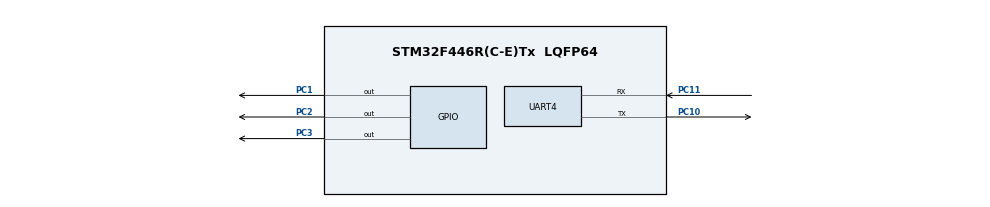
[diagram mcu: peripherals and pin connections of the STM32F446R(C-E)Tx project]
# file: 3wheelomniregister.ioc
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Mcu.Family=STM32F4
Mcu.Name=STM32F446R(C-E)Tx
Mcu.Package=LQFP64
NVIC.PriorityGroup=NVIC_PRIORITYGROUP_4
PC1.Signal=GPIO_Output
PC10.Mode=Asynchronous
PC10.Signal=UART4_TX
PC11.Mode=Asynchronous
PC11.Signal=UART4_RX
PC2.Signal=GPIO_Output
PC3.Signal=GPIO_Output
ProjectManager.HeapSize=0x200
ProjectManager.StackSize=0x400
ProjectManager.TargetToolchain=STM32CubeIDE
RCC.CortexFreq_Value=16000000
RCC.USBFreq_Value=96000000
RCC.VCOOutputFreq_Value=192000000
UART4.VirtualMode=Asynchronous
board=custom

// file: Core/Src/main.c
/* USER CODE BEGIN Header */
/**
  ******************************************************************************
  * @file           : main.c
  * @brief          : Main program body
  ******************************************************************************
  * @attention
  *
  * Copyright (c) 2024 STMicroelectronics.
  * All rights reserved.
  *
  * This software is licensed under terms that can be found in the LICENSE file
  * in the root directory of this software component.
  * If no LICENSE file comes with this software, it is provided AS-IS.
  *
  ******************************************************************************
  */
/* USER CODE END Header */
#include "main.h"

/* USER CODE BEGIN Includes */
#include<stdio.h>
#include<inttypes.h>

#include <stdbool.h>
/* USER CODE END Includes */

/* USER CODE BEGIN PTD */
uint8_t rxbuff[16];

int slow=75;

int fast=400;

int Buff1=20;

int Buff2=-20;

int BuffP=50;

int BuffN=-50;

int32_t lx, ly, rx, ry, cro, squ, tri, cir, up, down, left, right, ll1, rr1, ll2, rr2;
/* USER CODE END PTD */

UART_HandleTypeDef huart4;

void SystemClock_Config(void);
static void MX_GPIO_Init(void);
static void MX_UART4_Init(void);

/* USER CODE BEGIN 0 */
void PWM (uint16_t CCR1LoadValue)
{
	uint32_t *pAHB1ClkCtrlReg =   (uint32_t*)0x40023830; // address of AHB1 clock control register
	uint32_t *pAFRLPortAReg   =   (uint32_t*)0x40020020; // address of alternate function register of port A
    uint32_t *pPortAModeReg   =   (uint32_t*)0x40020000; // address of port A mode register
    uint32_t *pAPB1ClkCtrlReg =   (uint32_t*)0x40023840; // address of APB1 clock control register
	uint32_t *pTimer2PsclrReg =   (uint32_t*)0x40000C28; // address of timer 5 pre-scalar register
	uint32_t *pTimer2ArrReg   =   (uint32_t*)0x40000C2C; // address of timer 5 auto reload register
    uint32_t *pTimer2CntReg   =   (uint32_t*)0x40000C24; // address of timer 5 counter register
    uint32_t *pTimer2CCMR1Reg =   (uint32_t*)0x40000C18; // address of timer 5 capture/compare register
	uint32_t *pTimer2CcerReg  =   (uint32_t*)0x40000C20; // address of timer 5 capture/compare enable register
	uint32_t *pTimer2CCR1Reg  =   (uint32_t*)0x40000C34; // address of timer 5 capture/compare register
	uint32_t *pTimer2CR1Reg   =   (uint32_t*)0x40000C00; // address of timer 5 control register 1

			*pAHB1ClkCtrlReg |= 0x1;        // port A clock enable
		    *pAFRLPortAReg   |= 0x00000002; // alternate function of Timer 5 enabled
		    *pPortAModeReg   &= 0xFFFFFFFC;
		    *pPortAModeReg   |= 0x00000002; // port A Pin 0 configured for 'Alternate function'

		    *pAPB1ClkCtrlReg |= 0x8;           // timer 5 clock enable
		    *pTimer2PsclrReg = 10 - 1;         // pre-scalar value
		    *pTimer2ArrReg   = 26667 - 1 ;     // calculated auto reload value (60Hz PWM frequency)
		    *pTimer2CntReg   = 0;              // counter initialized to 0
		    *pTimer2CCMR1Reg = 0x0060;         // output Compare mode 1 enabled in Timer 5 Channel 1
		    *pTimer2CcerReg  = 1;              // configured as active low in Output compare mode
		    *pTimer2CCR1Reg  = CCR1LoadValue;  // duty cycle of PWM signal
		    *pTimer2CR1Reg   = 1;              // counter enable

}
void PWM_PA1_TIM2(uint16_t CCR1LoadValue) {
    uint32_t *pAHB1ClkCtrlReg = (uint32_t*)0x40023830;  // RCC AHB1 Clock Enable Register
    uint32_t *pAPB1ClkCtrlReg = (uint32_t*)0x40023840;  // RCC APB1 Clock Enable Register
    uint32_t *pGPIOA_MODER    = (uint32_t*)0x40020000;  // GPIOA Mode Register
    uint32_t *pGPIOA_AFRL     = (uint32_t*)0x40020020;  // GPIOA AFRL (Alternate Function Low Register)
    uint32_t *pTIM2_PSC       = (uint32_t*)0x40000028;  // TIM2 Prescaler Register
    uint32_t *pTIM2_ARR       = (uint32_t*)0x4000002C;  // TIM2 Auto-Reload Register
    uint32_t *pTIM2_CCR2      = (uint32_t*)0x40000038;  // TIM2 Capture/Compare Register 2
    uint32_t *pTIM2_CCMR1     = (uint32_t*)0x40000018;  // TIM2 Capture/Compare Mode Register 1
    uint32_t *pTIM2_CCER      = (uint32_t*)0x40000020;  // TIM2 Capture/Compare Enable Register
    uint32_t *pTIM2_CR1       = (uint32_t*)0x40000000;  // TIM2 Control Register 1

    // 1. Enable GPIOA and TIM2 clocks
    *pAHB1ClkCtrlReg |= (1 << 0);  // GPIOA clock enable
    *pAPB1ClkCtrlReg |= (1 << 0);  // TIM2 clock enable

    // 2. Set PA1 to alternate function mode (MODERy[1:0] = 10)
    *pGPIOA_MODER &= ~(0x3 << (1 * 2));  // Clear mode bits for PA1
    *pGPIOA_MODER |=  (0x2 << (1 * 2));  // Set PA1 to alternate function mode

    // 3. Configure PA1 for AF1 (TIM2_CH2)
    *pGPIOA_AFRL &= ~(0xF << (1 * 4));   // Clear AFRL bits for PA1
    *pGPIOA_AFRL |=  (0x1 << (1 * 4));   // Set AF1 for PA1

    // 4. Configure TIM2
    *pTIM2_PSC = 10 - 1;                 // Set prescaler value
    *pTIM2_ARR = 26667 - 1;              // Set auto-reload value for 60Hz
    *pTIM2_CCR2 = CCR1LoadValue;         // Set duty cycle
    *pTIM2_CCMR1 |= (0x6 << 12);         // Set PWM mode 1 on channel 2
    *pTIM2_CCER |= (1 << 4);             // Enable capture/compare for channel 2
    *pTIM2_CR1 |= (1 << 0);              // Enable TIM2
}
void PWM_PA5_TIM8(uint16_t CCR1LoadValue) {
    uint32_t *pAHB1ClkCtrlReg = (uint32_t*)0x40023830;  // RCC AHB1 Clock Enable Register
    uint32_t *pAPB2ClkCtrlReg = (uint32_t*)0x40023844;  // RCC APB2 Clock Enable Register
    uint32_t *pGPIOA_MODER    = (uint32_t*)0x40020000;  // GPIOA Mode Register
    uint32_t *pGPIOA_AFRL     = (uint32_t*)0x40020020;  // GPIOA AFRL (Alternate Function Low Register)
    uint32_t *pTIM8_PSC       = (uint32_t*)0x40010428;  // TIM8 Prescaler Register
    uint32_t *pTIM8_ARR       = (uint32_t*)0x4001042C;  // TIM8 Auto-Reload Register
    uint32_t *pTIM8_CCR1      = (uint32_t*)0x40010434;  // TIM8 Capture/Compare Register 1
    uint32_t *pTIM8_CCMR1     = (uint32_t*)0x40010418;  // TIM8 Capture/Compare Mode Register 1
    uint32_t *pTIM8_CCER      = (uint32_t*)0x40010420;  // TIM8 Capture/Compare Enable Register
    uint32_t *pTIM8_CR1       = (uint32_t*)0x40010400;  // TIM8 Control Register 1

    // 1. Enable GPIOA and TIM8 clocks
    *pAHB1ClkCtrlReg |= (1 << 0);  // GPIOA clock enable
    *pAPB2ClkCtrlReg |= (1 << 1);  // TIM8 clock enable

    // 2. Set PA5 to alternate function mode (MODERy[1:0] = 10)
    *pGPIOA_MODER &= ~(0x3 << (5 * 2));  // Clear mode bits for PA5
    *pGPIOA_MODER |=  (0x2 << (5 * 2));  // Set PA5 to alternate function mode

    // 3. Configure PA5 for AF3 (TIM8_CH1)
    *pGPIOA_AFRL &= ~(0xF << (5 * 4));   // Clear AFRL bits for PA5
    *pGPIOA_AFRL |=  (0x3 << (5 * 4));   // Set AF3 for PA5

    // 4. Configure TIM8
    *pTIM8_PSC = 10 - 1;                 // Set prescaler value
    *pTIM8_ARR = 26667 - 1;              // Set auto-reload value for 60Hz
    *pTIM8_CCR1 = CCR1LoadValue;         // Set duty cycle
    *pTIM8_CCMR1 |= (0x6 << 4);          // Set PWM mode 1 on channel 1
    *pTIM8_CCER |= (1 << 0);             // Enable capture/compare for channel 1
    *pTIM8_CR1 |= (1 << 0);              // Enable TIM8
}
long map(long x, long in_min, long in_max, long out_min, long out_max)
{
return (x - in_min) * (out_max - out_min) / (in_max - in_min) + out_min;
}

/* USER CODE END 0 */

int main(void)
{

  /* MCU Configuration--------------------------------------------------------*/

  /* Reset of all peripherals, Initializes the Flash interface and the Systick. */
  HAL_Init();

  /* Configure the system clock */
  SystemClock_Config();

  /* Initialize all configured peripherals */
  MX_GPIO_Init();
  MX_UART4_Init();
  /* USER CODE BEGIN 2 */
  HAL_UART_Receive(&huart4, rxbuff, 64,1000);
  /* USER CODE END 2 */

  /* Infinite loop */
  while (1)
  {
	  HAL_StatusTypeDef status;

		 	 	   status=HAL_UART_Receive(&huart4, rxbuff,64,1000);

		 	 	   if (status == HAL_OK)

		 	 	   {

		 	 	   // Convert the received bytes to signed integers

		 	 	   lx = (rxbuff[1] & 0x80) ? (int32_t)rxbuff[1] - 256 : (int32_t)rxbuff[1];

		 	 	   ly = (rxbuff[2] & 0x80) ? (int32_t)rxbuff[2] - 256 : (int32_t)rxbuff[2];

		 	 	   rx = (rxbuff[3] & 0x80) ? (int32_t)rxbuff[3] - 256 : (int32_t)rxbuff[3];

		 	 	   ry = (rxbuff[4] & 0x80) ? (int32_t)rxbuff[4] - 256 : (int32_t)rxbuff[4];

		 	 	   cro= (rxbuff[5] & 0x80) ? (int32_t)rxbuff[5] - 256 : (int32_t)rxbuff[5];

		 	 	   squ= (rxbuff[6] & 0x80) ? (int32_t)rxbuff[6] - 256 : (int32_t)rxbuff[6];

		 	 	   tri= (rxbuff[7] & 0x80) ? (int32_t)rxbuff[7] - 256 : (int32_t)rxbuff[7];

		 	 	   cir= (rxbuff[8] & 0x80) ? (int32_t)rxbuff[8] - 256 : (int32_t)rxbuff[8];

		 	 	   up= (rxbuff[9] & 0x80) ? (int32_t)rxbuff[9] - 256 : (int32_t)rxbuff[9];

		 	 	   down= (rxbuff[10] & 0x80) ? (int32_t)rxbuff[10] - 256 : (int32_t)rxbuff[10];

		 	 	   left= (rxbuff[11] & 0x80) ? (int32_t)rxbuff[11] - 256 : (int32_t)rxbuff[11];

		 	 	   right=(rxbuff[12] & 0x80) ? (int32_t)rxbuff[12] - 256 : (int32_t)rxbuff[12];

		 	 	   ll1= (rxbuff[13] & 0x80) ? (int32_t)rxbuff[13] - 256 : (int32_t)rxbuff[13];

		 	 	   ll2= (rxbuff[14] & 0x80) ? (int32_t)rxbuff[14] - 256 : (int32_t)rxbuff[14];

		 	 	   rr1= (rxbuff[15] & 0x80) ? (int32_t)rxbuff[15] - 256 : (int32_t)rxbuff[15];

		 	 	   rr2= (rxbuff[16] & 0x80) ? (int32_t)rxbuff[16] - 256 : (int32_t)rxbuff[16];

		 	 	   // Print the received values

		 	 	   printf("Received Integers:\n");

		 	 	   printf("lx: %ld\n", lx);

		 	 	   printf("ly: %ld\n", ly);

		 	 	   printf("rx: %ld\n", rx);

		 	 	   printf("ry: %ld\n", ry);

		 	 	   printf("cro: %ld\n", cro);

		 	 	   printf("squ: %ld\n", squ);

		 	 	   printf("tri: %ld\n", tri);

		 	 	   printf("cir: %ld\n", cir);

		 	 	   printf("up: %ld\n", up);

		 	 	   printf("down: %ld\n", down);

		 	 	   printf("left: %ld\n", left);

		 	 	   printf("right: %ld\n", right);

		 	 	   printf("ll1: %ld\n", ll1);

		 	 	   printf("ll2: %ld\n", ll2);

		 	 	   printf("rr1: %ld\n", rr1);

		 	 	   printf("rr2: %ld\n", rr2);

		 	 	   }

		 	 	   else{

		 	 	   ry = 0;

		 	 	   rx = 0;

		 	 	   lx = 0;

		 	 	   ly = 0;

		 	 	   cro = 0;

		 	 	   squ = 0;

		 	 	   tri = 0;

		 	 	   cir = 0;

		 	 	   up = 0;

		 	 	   down = 0;

		 	 	   left = 0;

		 	 	   right = 0;

		 	 	   ll1=0;

		 	 	   ll2=0;

		 	 	   rr1=0;

		 	 	   rr2=0;

		 	 	   }

		 	 	   uint16_t dutycycle;

		 	 	  	dutycycle=0;

		 	 	  	//chassis

		 	 	  	//motors stop

		 	 	  	if(ly>=Buff2 && ly<=Buff1 && lx>=Buff2 && lx<=Buff1 && rx>=Buff2 && rx<=Buff1){
		 	 //

		 	 //
		 	 	  	dutycycle=0;
		 	 	  	PWM(dutycycle);
		 	 	  PWM_PA1_TIM2(dutycycle);
		 	 	  PWM_PA5_TIM8(dutycycle);

		 	 //

		 	 	  	}
		 	 //
		 	 //	  	// else{
		 	 //
		 	 //	  	//forward
		 	 //
		 	 	  	else if( ly>=Buff1 && (lx<=BuffP && lx>=BuffN) )

		 	 	  	{

		 	 	  	dutycycle=map(ly,Buff1,127,0,fast);

		 	 		PWM(dutycycle);
		 	 			 	 	  PWM_PA1_TIM2(0);
		 	 			 	 	  PWM_PA5_TIM8(dutycycle);
		 	 //
		 	 //	  //
		 	 //

		 	 //

		 	 	   HAL_GPIO_WritePin(GPIOC,GPIO_PIN_0,GPIO_PIN_SET);

		 //	 	   HAL_GPIO_WritePin(GPIOC,GPIO_PIN_1,GPIO_PIN_SET);

		 	 	   HAL_GPIO_WritePin(GPIOC,GPIO_PIN_3,GPIO_PIN_SET);

		 	 //	   	HAL_Delay(1000);

		 	 	   }

		 	 	   // backward

		 	 	   else if(ly<=Buff2 && (lx<=BuffP && lx>=BuffN) )

		 	 	   {

		 	 		 dutycycle=map(ly,-128,Buff2,fast,0);

		 	 		PWM(dutycycle);
		 	 			 	 	  PWM_PA1_TIM2(0);
		 	 			 	 	  PWM_PA5_TIM8(dutycycle);
		 	 //
		 	 //	  //
		 	 //

		 	 	   HAL_GPIO_WritePin(GPIOC,GPIO_PIN_0,GPIO_PIN_RESET);

		 //	 	   HAL_GPIO_WritePin(GPIOC,GPIO_PIN_1,GPIO_PIN_RESET);

		 	 	   HAL_GPIO_WritePin(GPIOC,GPIO_PIN_3,GPIO_PIN_RESET);

		 	 //	    HAL_Delay(1000);

		 	 	   }

		 	 	   //	right

		 	 	   else if(lx>=Buff1 && (ly<=BuffP && ly>=BuffN))

		 	 	   {

		 	 	   dutycycle=map(lx,Buff1,127,0,fast);

		 	 		PWM(dutycycle);
		 	 			 	 	  PWM_PA1_TIM2(dutycycle);
		 	 			 	 	  PWM_PA5_TIM8(0);

		 	 	  	HAL_GPIO_WritePin(GPIOC,GPIO_PIN_0,GPIO_PIN_SET);

		 	 	  	HAL_GPIO_WritePin(GPIOC,GPIO_PIN_1,GPIO_PIN_SET);

		 //	 	  	HAL_GPIO_WritePin(GPIOC,GPIO_PIN_3,GPIO_PIN_SET);

		 	 	   }

		 	 	   // left

		 	 	   else if(lx<=Buff2 && (ly<=BuffP && ly>=BuffN) )

		 	 	   {

		 	 	   dutycycle=map(lx,-128,Buff2,fast,0);

		 	 		PWM(dutycycle);
		 	 			 	 	  PWM_PA1_TIM2(dutycycle);
		 	 			 	 	  PWM_PA5_TIM8(0);

		 //	 	  	HAL_GPIO_WritePin(GPIOC,GPIO_PIN_0,GPIO_PIN_SET);

		 	 	  	HAL_GPIO_WritePin(GPIOC,GPIO_PIN_1,GPIO_PIN_RESET);

		 	 	  	HAL_GPIO_WritePin(GPIOC,GPIO_PIN_3,GPIO_PIN_SET);

		 	 	   }

		 	 	   //clockwise

		 	 	   else if(rx>=Buff1 && (ry<=BuffP && ry>=BuffN) ){

		 	 	   dutycycle=map(rx,Buff1,127,0,100);

		 	 		PWM(dutycycle);
		 	 			 	 	  PWM_PA1_TIM2(dutycycle);
		 	 			 	 	  PWM_PA5_TIM8(dutycycle);

		 	 	  	HAL_GPIO_WritePin(GPIOC,GPIO_PIN_0,GPIO_PIN_SET);

		 	 	  	HAL_GPIO_WritePin(GPIOC,GPIO_PIN_1,GPIO_PIN_SET);

		 	 	  	HAL_GPIO_WritePin(GPIOC,GPIO_PIN_3,GPIO_PIN_SET);

		 	 	   }

		 	 	  // //anticlockwise

		 	 	   else if(rx<=Buff2 && (ry<=BuffP && ry>=BuffN) ){

		 	 	   dutycycle=map(rx,-128,Buff2,100,0);

		 	 		PWM(dutycycle);
		 	 			 	 	  PWM_PA1_TIM2(dutycycle);
		 	 			 	 	  PWM_PA5_TIM8(dutycycle);

		 	 	  	HAL_GPIO_WritePin(GPIOC,GPIO_PIN_0,GPIO_PIN_RESET);

		 	 	  	HAL_GPIO_WritePin(GPIOC,GPIO_PIN_1,GPIO_PIN_RESET);

		 	 	  	HAL_GPIO_WritePin(GPIOC,GPIO_PIN_3,GPIO_PIN_RESET);

		 	 	   }
  }
}

void SystemClock_Config(void)
{
  RCC_OscInitTypeDef RCC_OscInitStruct = {0};
  RCC_ClkInitTypeDef RCC_ClkInitStruct = {0};

  /** Configure the main internal regulator output voltage
  */
  __HAL_RCC_PWR_CLK_ENABLE();
  __HAL_PWR_VOLTAGESCALING_CONFIG(PWR_REGULATOR_VOLTAGE_SCALE3);

  /** Initializes the RCC Oscillators according to the specified parameters
  * in the RCC_OscInitTypeDef structure.
  */
  RCC_OscInitStruct.OscillatorType = RCC_OSCILLATORTYPE_HSI;
  RCC_OscInitStruct.HSIState = RCC_HSI_ON;
  RCC_OscInitStruct.HSICalibrationValue = RCC_HSICALIBRATION_DEFAULT;
  RCC_OscInitStruct.PLL.PLLState = RCC_PLL_NONE;
  if (HAL_RCC_OscConfig(&RCC_OscInitStruct) != HAL_OK)
  {
    Error_Handler();
  }

  /** Initializes the CPU, AHB and APB buses clocks
  */
  RCC_ClkInitStruct.ClockType = RCC_CLOCKTYPE_HCLK|RCC_CLOCKTYPE_SYSCLK
                              |RCC_CLOCKTYPE_PCLK1|RCC_CLOCKTYPE_PCLK2;
  RCC_ClkInitStruct.SYSCLKSource = RCC_SYSCLKSOURCE_HSI;
  RCC_ClkInitStruct.AHBCLKDivider = RCC_SYSCLK_DIV1;
  RCC_ClkInitStruct.APB1CLKDivider = RCC_HCLK_DIV1;
  RCC_ClkInitStruct.APB2CLKDivider = RCC_HCLK_DIV1;

  if (HAL_RCC_ClockConfig(&RCC_ClkInitStruct, FLASH_LATENCY_0) != HAL_OK)
  {
    Error_Handler();
  }
}

static void MX_UART4_Init(void)
{

  huart4.Instance = UART4;
  huart4.Init.BaudRate = 115200;
  huart4.Init.WordLength = UART_WORDLENGTH_8B;
  huart4.Init.StopBits = UART_STOPBITS_1;
  huart4.Init.Parity = UART_PARITY_NONE;
  huart4.Init.Mode = UART_MODE_TX_RX;
  huart4.Init.HwFlowCtl = UART_HWCONTROL_NONE;
  huart4.Init.OverSampling = UART_OVERSAMPLING_16;
  if (HAL_UART_Init(&huart4) != HAL_OK)
  {
    Error_Handler();
  }

}

static void MX_GPIO_Init(void)
{
  GPIO_InitTypeDef GPIO_InitStruct = {0};

  /* GPIO Ports Clock Enable */
  __HAL_RCC_GPIOC_CLK_ENABLE();

  /*Configure GPIO pin Output Level */
  HAL_GPIO_WritePin(GPIOC, GPIO_PIN_1|GPIO_PIN_2|GPIO_PIN_3, GPIO_PIN_RESET);

  /*Configure GPIO pins : PC1 PC2 PC3 */
  GPIO_InitStruct.Pin = GPIO_PIN_1|GPIO_PIN_2|GPIO_PIN_3;
  GPIO_InitStruct.Mode = GPIO_MODE_OUTPUT_PP;
  GPIO_InitStruct.Pull = GPIO_NOPULL;
  GPIO_InitStruct.Speed = GPIO_SPEED_FREQ_LOW;
  HAL_GPIO_Init(GPIOC, &GPIO_InitStruct);

}

void Error_Handler(void)
{
  __disable_irq();
  while (1)
  {
  }
}
